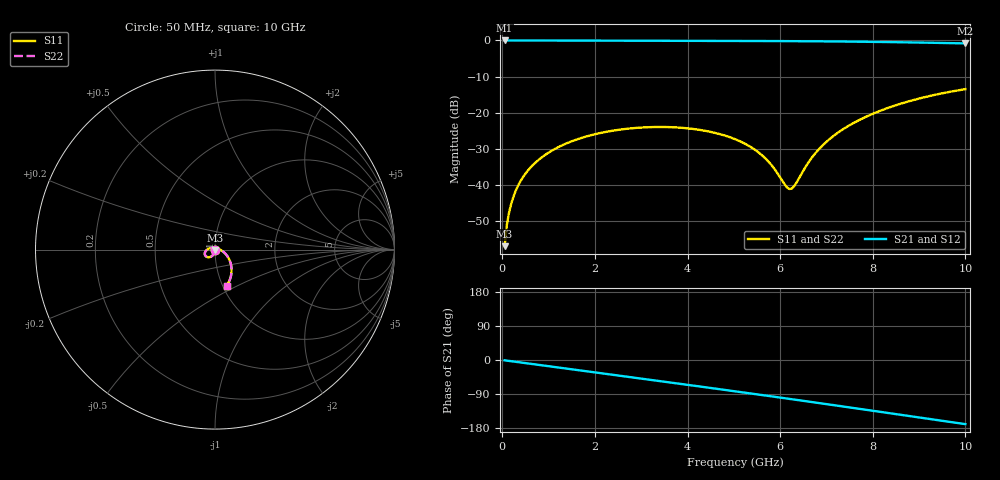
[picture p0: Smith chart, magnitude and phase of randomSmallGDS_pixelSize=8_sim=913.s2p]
! freq	dB(S11)	phase(S11)	dB(S12)	phase(S12)
!  dB(S21)	phase(S21)	dB(S22)	phase(S22)
!S-par simulation data
#  GHz  S  DB  R 50
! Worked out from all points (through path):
!   200 points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, 50 MHz to 10 GHz, reference 50 ohm
!   highest |S21| = 0.00 dB at 50 MHz (marker M1); lowest = -0.8 dB at 10 GHz (marker M2)
!   group delay of S21, straight-line fit = 46.9 ps
!   lowest |S11| = -56.9 dB at 50 MHz (marker M3), VSWR 1.00, Z = 50 - j0.142 ohm
!   |S11| at or under -10 dB: start of sweep to end of sweep
!   |S22| runs from -56.9 to -13.5 dB; largest |S21 - S12| = 0
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0.05  -56.93 -90.2  -0.00 -0.8  -0.00 -0.8  -56.93 -90.2
0.1  -50.89 -91.7  -0.00 -1.7  -0.00 -1.7  -50.89 -91.7
0.15  -47.35 -92.9  -0.00 -2.5  -0.00 -2.5  -47.35 -92.9
0.2  -44.84 -93.9  -0.00 -3.3  -0.00 -3.3  -44.84 -93.9
0.35  -39.94 -96.6  -0.00 -5.8  -0.00 -5.8  -39.94 -96.6
0.5  -36.86 -99.1  -0.01 -8.2  -0.01 -8.2  -36.86 -99.2
0.7  -33.99 -102.5  -0.01 -11.5  -0.01 -11.5  -33.99 -102.5
1  -31.03 -107.6  -0.02 -16.4  -0.02 -16.4  -31.03 -107.6
1.75  -26.81 -120.2  -0.04 -28.6  -0.04 -28.6  -26.81 -120.2
2.55  -24.66 -133.7  -0.06 -41.7  -0.06 -41.7  -24.66 -133.8
3.4  -23.94 -148.4  -0.08 -55.6  -0.08 -55.6  -23.94 -148.4
4.3  -24.82 -164.9  -0.10 -70.5  -0.10 -70.5  -24.82 -165.0
5.05  -27.44 179.1  -0.13 -83.0  -0.13 -83.0  -27.44 178.9
5.65  -32.26 159.6  -0.15 -93.1  -0.15 -93.1  -32.24 159.1
6.2  -41.11 85.5  -0.19 -102.5  -0.19 -102.5  -40.89 85.3
6.3  -40.38 56.0  -0.19 -104.3  -0.19 -104.3  -40.18 56.4
6.7  -32.17 3.4  -0.23 -111.2  -0.23 -111.2  -32.13 3.9
7  -28.04 -9.9  -0.25 -116.4  -0.25 -116.4  -28.02 -9.5
7.35  -24.63 -20.2  -0.29 -122.5  -0.29 -122.5  -24.62 -19.9
8.35  -18.57 -41.9  -0.45 -140.1  -0.45 -140.1  -18.57 -41.7
9.2  -15.45 -58.0  -0.62 -155.1  -0.62 -155.1  -15.45 -57.8
10  -13.48 -72.3  -0.82 -169.3  -0.82 -169.3  -13.47 -72.2
